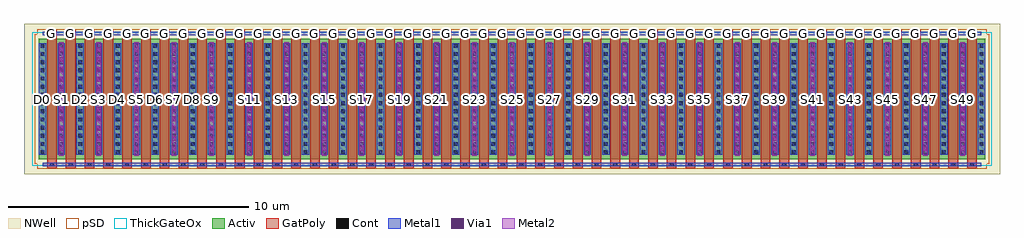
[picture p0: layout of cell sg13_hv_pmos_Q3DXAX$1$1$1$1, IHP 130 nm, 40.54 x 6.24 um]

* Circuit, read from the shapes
.subckt sg13_hv_pmos_Q3DXAX$1$1$1$1 D0 D10 D12 D14 D16 D18 D2 D20 D22 D24 D26 D28 D30 D32 D34 D36 D38 D4 D40 D42 D44 D46 D48 D6 D8 G S1 S11 S13 S15 S17 S19 S21 S23 S25 S27 S29 S3 S31 S33 S35 S37 S39 S41 S43 S45 S47 S49 S5 S7 S9
XM1 S1 G D0 n1 sg13_hv_pmos w=5u l=0.4u
XM2 D2 G S1 n1 sg13_hv_pmos w=5u l=0.4u
XM3 S3 G D2 n1 sg13_hv_pmos w=5u l=0.4u
XM4 D4 G S3 n1 sg13_hv_pmos w=5u l=0.4u
XM5 S5 G D4 n1 sg13_hv_pmos w=5u l=0.4u
XM6 D6 G S5 n1 sg13_hv_pmos w=5u l=0.4u
XM7 S7 G D6 n1 sg13_hv_pmos w=5u l=0.4u
XM8 D8 G S7 n1 sg13_hv_pmos w=5u l=0.4u
XM9 S9 G D8 n1 sg13_hv_pmos w=5u l=0.4u
XM10 D10 G S9 n1 sg13_hv_pmos w=5u l=0.4u
XM11 S11 G D10 n1 sg13_hv_pmos w=5u l=0.4u
XM12 D12 G S11 n1 sg13_hv_pmos w=5u l=0.4u
XM13 S13 G D12 n1 sg13_hv_pmos w=5u l=0.4u
XM14 D14 G S13 n1 sg13_hv_pmos w=5u l=0.4u
XM15 S15 G D14 n1 sg13_hv_pmos w=5u l=0.4u
XM16 D16 G S15 n1 sg13_hv_pmos w=5u l=0.4u
XM17 S17 G D16 n1 sg13_hv_pmos w=5u l=0.4u
XM18 D18 G S17 n1 sg13_hv_pmos w=5u l=0.4u
XM19 S19 G D18 n1 sg13_hv_pmos w=5u l=0.4u
XM20 D20 G S19 n1 sg13_hv_pmos w=5u l=0.4u
XM21 S21 G D20 n1 sg13_hv_pmos w=5u l=0.4u
XM22 D22 G S21 n1 sg13_hv_pmos w=5u l=0.4u
XM23 S23 G D22 n1 sg13_hv_pmos w=5u l=0.4u
XM24 D24 G S23 n1 sg13_hv_pmos w=5u l=0.4u
XM25 S25 G D24 n1 sg13_hv_pmos w=5u l=0.4u
XM26 D26 G S25 n1 sg13_hv_pmos w=5u l=0.4u
XM27 S27 G D26 n1 sg13_hv_pmos w=5u l=0.4u
XM28 D28 G S27 n1 sg13_hv_pmos w=5u l=0.4u
XM29 S29 G D28 n1 sg13_hv_pmos w=5u l=0.4u
XM30 D30 G S29 n1 sg13_hv_pmos w=5u l=0.4u
XM31 S31 G D30 n1 sg13_hv_pmos w=5u l=0.4u
XM32 D32 G S31 n1 sg13_hv_pmos w=5u l=0.4u
XM33 S33 G D32 n1 sg13_hv_pmos w=5u l=0.4u
XM34 D34 G S33 n1 sg13_hv_pmos w=5u l=0.4u
XM35 S35 G D34 n1 sg13_hv_pmos w=5u l=0.4u
XM36 D36 G S35 n1 sg13_hv_pmos w=5u l=0.4u
XM37 S37 G D36 n1 sg13_hv_pmos w=5u l=0.4u
XM38 D38 G S37 n1 sg13_hv_pmos w=5u l=0.4u
XM39 S39 G D38 n1 sg13_hv_pmos w=5u l=0.4u
XM40 D40 G S39 n1 sg13_hv_pmos w=5u l=0.4u
XM41 S41 G D40 n1 sg13_hv_pmos w=5u l=0.4u
XM42 D42 G S41 n1 sg13_hv_pmos w=5u l=0.4u
XM43 S43 G D42 n1 sg13_hv_pmos w=5u l=0.4u
XM44 D44 G S43 n1 sg13_hv_pmos w=5u l=0.4u
XM45 S45 G D44 n1 sg13_hv_pmos w=5u l=0.4u
XM46 D46 G S45 n1 sg13_hv_pmos w=5u l=0.4u
XM47 S47 G D46 n1 sg13_hv_pmos w=5u l=0.4u
XM48 D48 G S47 n1 sg13_hv_pmos w=5u l=0.4u
XM49 S49 G D48 n1 sg13_hv_pmos w=5u l=0.4u
XM50 n2 G S49 n1 sg13_hv_pmos w=5u l=0.4u
.ends

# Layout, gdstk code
import gdstk
lib = gdstk.Library(unit=1e-6, precision=1e-09)
def R(c, l, rs):  # rectangles x0, y0, x1, y1
    for r in rs: c.add(gdstk.rectangle(r[:2], r[2:], *l))
def A(c, l, x, y, w, h, nx, ny, dx, dy):  # array of equal rectangles
    R(c, l, [(x+i*dx, y+j*dy, x+i*dx+w, y+j*dy+h) for i in range(nx) for j in range(ny)])
Activ = (1, 0)
GatPoly = (5, 0)
Cont = (6, 0)
Metal1 = (8, 0)
Metal2 = (10, 0)
pSD = (14, 0)
Via1 = (19, 0)
NWell = (31, 0)
ThickGateOx = (44, 0)

sg13_hv_pmos_q3dxax_1_1_ = lib.new_cell('sg13_hv_pmos_Q3DXAX$1$1$1$1')
R(sg13_hv_pmos_q3dxax_1_1_, Activ, [(-19.65,-2.5,19.65,2.5)])
A(sg13_hv_pmos_q3dxax_1_1_, GatPoly, -19.31, -2.87, 0.4, 5.74, 50, 1, 0.78, 0)
A(sg13_hv_pmos_q3dxax_1_1_, Cont, -19.19, -2.8, 0.16, 0.16, 50, 2, 0.78, 5.44)
A(sg13_hv_pmos_q3dxax_1_1_, Cont, -19.58, -2.29, 0.16, 0.16, 51, 14, 0.78, 0.34)
A(sg13_hv_pmos_q3dxax_1_1_, Metal1, -19.65, -2.31, 0.3, 4.62, 51, 1, 0.78, 0)
R(sg13_hv_pmos_q3dxax_1_1_, Metal1, [(-19.5,-2.8,19.5,-2.64), (-19.5,2.64,19.5,2.8)])
A(sg13_hv_pmos_q3dxax_1_1_, Metal2, -18.82, -2.35, 0.2, 4.7, 25, 1, 1.56, 0)
R(sg13_hv_pmos_q3dxax_1_1_, pSD, [(-19.71,-2.9,19.71,-2.68), (-19.83,-2.68,19.83,2.68), (-19.71,2.68,19.71,2.9)])
A(sg13_hv_pmos_q3dxax_1_1_, Via1, -18.815, -2.145, 0.19, 0.19, 25, 11, 1.56, 0.41)
R(sg13_hv_pmos_q3dxax_1_1_, NWell, [(-20.27,-3.12,20.27,3.12)])
R(sg13_hv_pmos_q3dxax_1_1_, ThickGateOx, [(-19.92,-2.77,19.92,2.77)])
sg13_hv_pmos_q3dxax_1_1_.add(gdstk.Label('D0', (-19.5,0), layer=8, texttype=25))
sg13_hv_pmos_q3dxax_1_1_.add(gdstk.Label('G', (19.11,2.72), layer=8, texttype=25))
sg13_hv_pmos_q3dxax_1_1_.add(gdstk.Label('G', (18.33,2.72), layer=8, texttype=25))
sg13_hv_pmos_q3dxax_1_1_.add(gdstk.Label('G', (17.55,2.72), layer=8, texttype=25))
sg13_hv_pmos_q3dxax_1_1_.add(gdstk.Label('G', (16.77,2.72), layer=8, texttype=25))
sg13_hv_pmos_q3dxax_1_1_.add(gdstk.Label('G', (15.99,2.72), layer=8, texttype=25))
sg13_hv_pmos_q3dxax_1_1_.add(gdstk.Label('G', (15.21,2.72), layer=8, texttype=25))
sg13_hv_pmos_q3dxax_1_1_.add(gdstk.Label('G', (14.43,2.72), layer=8, texttype=25))
sg13_hv_pmos_q3dxax_1_1_.add(gdstk.Label('G', (13.65,2.72), layer=8, texttype=25))
sg13_hv_pmos_q3dxax_1_1_.add(gdstk.Label('G', (12.87,2.72), layer=8, texttype=25))
sg13_hv_pmos_q3dxax_1_1_.add(gdstk.Label('G', (12.09,2.72), layer=8, texttype=25))
sg13_hv_pmos_q3dxax_1_1_.add(gdstk.Label('G', (11.31,2.72), layer=8, texttype=25))
sg13_hv_pmos_q3dxax_1_1_.add(gdstk.Label('G', (10.53,2.72), layer=8, texttype=25))
sg13_hv_pmos_q3dxax_1_1_.add(gdstk.Label('G', (9.75,2.72), layer=8, texttype=25))
sg13_hv_pmos_q3dxax_1_1_.add(gdstk.Label('G', (8.97,2.72), layer=8, texttype=25))
sg13_hv_pmos_q3dxax_1_1_.add(gdstk.Label('G', (8.19,2.72), layer=8, texttype=25))
sg13_hv_pmos_q3dxax_1_1_.add(gdstk.Label('G', (7.41,2.72), layer=8, texttype=25))
sg13_hv_pmos_q3dxax_1_1_.add(gdstk.Label('G', (6.63,2.72), layer=8, texttype=25))
sg13_hv_pmos_q3dxax_1_1_.add(gdstk.Label('G', (5.85,2.72), layer=8, texttype=25))
sg13_hv_pmos_q3dxax_1_1_.add(gdstk.Label('G', (5.07,2.72), layer=8, texttype=25))
sg13_hv_pmos_q3dxax_1_1_.add(gdstk.Label('G', (4.29,2.72), layer=8, texttype=25))
sg13_hv_pmos_q3dxax_1_1_.add(gdstk.Label('G', (3.51,2.72), layer=8, texttype=25))
sg13_hv_pmos_q3dxax_1_1_.add(gdstk.Label('G', (2.73,2.72), layer=8, texttype=25))
sg13_hv_pmos_q3dxax_1_1_.add(gdstk.Label('G', (1.95,2.72), layer=8, texttype=25))
sg13_hv_pmos_q3dxax_1_1_.add(gdstk.Label('G', (1.17,2.72), layer=8, texttype=25))
sg13_hv_pmos_q3dxax_1_1_.add(gdstk.Label('G', (0.39,2.72), layer=8, texttype=25))
sg13_hv_pmos_q3dxax_1_1_.add(gdstk.Label('G', (-0.39,2.72), layer=8, texttype=25))
sg13_hv_pmos_q3dxax_1_1_.add(gdstk.Label('G', (-1.17,2.72), layer=8, texttype=25))
sg13_hv_pmos_q3dxax_1_1_.add(gdstk.Label('G', (-1.95,2.72), layer=8, texttype=25))
sg13_hv_pmos_q3dxax_1_1_.add(gdstk.Label('G', (-2.73,2.72), layer=8, texttype=25))
sg13_hv_pmos_q3dxax_1_1_.add(gdstk.Label('G', (-3.51,2.72), layer=8, texttype=25))
sg13_hv_pmos_q3dxax_1_1_.add(gdstk.Label('G', (-4.29,2.72), layer=8, texttype=25))
sg13_hv_pmos_q3dxax_1_1_.add(gdstk.Label('G', (-5.07,2.72), layer=8, texttype=25))
sg13_hv_pmos_q3dxax_1_1_.add(gdstk.Label('G', (-5.85,2.72), layer=8, texttype=25))
sg13_hv_pmos_q3dxax_1_1_.add(gdstk.Label('G', (-6.63,2.72), layer=8, texttype=25))
sg13_hv_pmos_q3dxax_1_1_.add(gdstk.Label('G', (-7.41,2.72), layer=8, texttype=25))
sg13_hv_pmos_q3dxax_1_1_.add(gdstk.Label('G', (-8.19,2.72), layer=8, texttype=25))
sg13_hv_pmos_q3dxax_1_1_.add(gdstk.Label('G', (-8.97,2.72), layer=8, texttype=25))
sg13_hv_pmos_q3dxax_1_1_.add(gdstk.Label('G', (-9.75,2.72), layer=8, texttype=25))
sg13_hv_pmos_q3dxax_1_1_.add(gdstk.Label('G', (-10.53,2.72), layer=8, texttype=25))
sg13_hv_pmos_q3dxax_1_1_.add(gdstk.Label('G', (-11.31,2.72), layer=8, texttype=25))
sg13_hv_pmos_q3dxax_1_1_.add(gdstk.Label('G', (-12.09,2.72), layer=8, texttype=25))
sg13_hv_pmos_q3dxax_1_1_.add(gdstk.Label('G', (-12.87,2.72), layer=8, texttype=25))
sg13_hv_pmos_q3dxax_1_1_.add(gdstk.Label('G', (-13.65,2.72), layer=8, texttype=25))
sg13_hv_pmos_q3dxax_1_1_.add(gdstk.Label('G', (-14.43,2.72), layer=8, texttype=25))
sg13_hv_pmos_q3dxax_1_1_.add(gdstk.Label('G', (-15.21,2.72), layer=8, texttype=25))
sg13_hv_pmos_q3dxax_1_1_.add(gdstk.Label('G', (-15.99,2.72), layer=8, texttype=25))
sg13_hv_pmos_q3dxax_1_1_.add(gdstk.Label('G', (-16.77,2.72), layer=8, texttype=25))
sg13_hv_pmos_q3dxax_1_1_.add(gdstk.Label('G', (-17.55,2.72), layer=8, texttype=25))
sg13_hv_pmos_q3dxax_1_1_.add(gdstk.Label('G', (-18.33,2.72), layer=8, texttype=25))
sg13_hv_pmos_q3dxax_1_1_.add(gdstk.Label('G', (-19.11,2.72), layer=8, texttype=25))
sg13_hv_pmos_q3dxax_1_1_.add(gdstk.Label('S1', (-18.72,0), layer=8, texttype=25))
sg13_hv_pmos_q3dxax_1_1_.add(gdstk.Label('D2', (-17.94,0), layer=8, texttype=25))
sg13_hv_pmos_q3dxax_1_1_.add(gdstk.Label('S3', (-17.16,0), layer=8, texttype=25))
sg13_hv_pmos_q3dxax_1_1_.add(gdstk.Label('D4', (-16.38,0), layer=8, texttype=25))
sg13_hv_pmos_q3dxax_1_1_.add(gdstk.Label('S5', (-15.6,0), layer=8, texttype=25))
sg13_hv_pmos_q3dxax_1_1_.add(gdstk.Label('D6', (-14.82,0), layer=8, texttype=25))
sg13_hv_pmos_q3dxax_1_1_.add(gdstk.Label('S7', (-14.04,0), layer=8, texttype=25))
sg13_hv_pmos_q3dxax_1_1_.add(gdstk.Label('D8', (-13.26,0), layer=8, texttype=25))
sg13_hv_pmos_q3dxax_1_1_.add(gdstk.Label('S9', (-12.48,0), layer=8, texttype=25))
sg13_hv_pmos_q3dxax_1_1_.add(gdstk.Label('D10', (-11.7,0), layer=8, texttype=25))
sg13_hv_pmos_q3dxax_1_1_.add(gdstk.Label('S11', (-10.92,0), layer=8, texttype=25))
sg13_hv_pmos_q3dxax_1_1_.add(gdstk.Label('D12', (-10.14,0), layer=8, texttype=25))
sg13_hv_pmos_q3dxax_1_1_.add(gdstk.Label('S13', (-9.36,0), layer=8, texttype=25))
sg13_hv_pmos_q3dxax_1_1_.add(gdstk.Label('D14', (-8.58,0), layer=8, texttype=25))
sg13_hv_pmos_q3dxax_1_1_.add(gdstk.Label('S15', (-7.8,0), layer=8, texttype=25))
sg13_hv_pmos_q3dxax_1_1_.add(gdstk.Label('D16', (-7.02,0), layer=8, texttype=25))
sg13_hv_pmos_q3dxax_1_1_.add(gdstk.Label('S17', (-6.24,0), layer=8, texttype=25))
sg13_hv_pmos_q3dxax_1_1_.add(gdstk.Label('D18', (-5.46,0), layer=8, texttype=25))
sg13_hv_pmos_q3dxax_1_1_.add(gdstk.Label('S19', (-4.68,0), layer=8, texttype=25))
sg13_hv_pmos_q3dxax_1_1_.add(gdstk.Label('D20', (-3.9,0), layer=8, texttype=25))
sg13_hv_pmos_q3dxax_1_1_.add(gdstk.Label('S21', (-3.12,0), layer=8, texttype=25))
sg13_hv_pmos_q3dxax_1_1_.add(gdstk.Label('D22', (-2.34,0), layer=8, texttype=25))
sg13_hv_pmos_q3dxax_1_1_.add(gdstk.Label('S23', (-1.56,0), layer=8, texttype=25))
sg13_hv_pmos_q3dxax_1_1_.add(gdstk.Label('D24', (-0.78,0), layer=8, texttype=25))
sg13_hv_pmos_q3dxax_1_1_.add(gdstk.Label('S25', (0,0), layer=8, texttype=25))
sg13_hv_pmos_q3dxax_1_1_.add(gdstk.Label('D26', (0.78,0), layer=8, texttype=25))
sg13_hv_pmos_q3dxax_1_1_.add(gdstk.Label('S27', (1.56,0), layer=8, texttype=25))
sg13_hv_pmos_q3dxax_1_1_.add(gdstk.Label('D28', (2.34,0), layer=8, texttype=25))
sg13_hv_pmos_q3dxax_1_1_.add(gdstk.Label('S29', (3.12,0), layer=8, texttype=25))
sg13_hv_pmos_q3dxax_1_1_.add(gdstk.Label('D30', (3.9,0), layer=8, texttype=25))
sg13_hv_pmos_q3dxax_1_1_.add(gdstk.Label('S31', (4.68,0), layer=8, texttype=25))
sg13_hv_pmos_q3dxax_1_1_.add(gdstk.Label('D32', (5.46,0), layer=8, texttype=25))
sg13_hv_pmos_q3dxax_1_1_.add(gdstk.Label('S33', (6.24,0), layer=8, texttype=25))
sg13_hv_pmos_q3dxax_1_1_.add(gdstk.Label('D34', (7.02,0), layer=8, texttype=25))
sg13_hv_pmos_q3dxax_1_1_.add(gdstk.Label('S35', (7.8,0), layer=8, texttype=25))
sg13_hv_pmos_q3dxax_1_1_.add(gdstk.Label('D36', (8.58,0), layer=8, texttype=25))
sg13_hv_pmos_q3dxax_1_1_.add(gdstk.Label('S37', (9.36,0), layer=8, texttype=25))
sg13_hv_pmos_q3dxax_1_1_.add(gdstk.Label('D38', (10.14,0), layer=8, texttype=25))
sg13_hv_pmos_q3dxax_1_1_.add(gdstk.Label('S39', (10.92,0), layer=8, texttype=25))
sg13_hv_pmos_q3dxax_1_1_.add(gdstk.Label('D40', (11.7,0), layer=8, texttype=25))
sg13_hv_pmos_q3dxax_1_1_.add(gdstk.Label('S41', (12.48,0), layer=8, texttype=25))
sg13_hv_pmos_q3dxax_1_1_.add(gdstk.Label('D42', (13.26,0), layer=8, texttype=25))
sg13_hv_pmos_q3dxax_1_1_.add(gdstk.Label('S43', (14.04,0), layer=8, texttype=25))
sg13_hv_pmos_q3dxax_1_1_.add(gdstk.Label('D44', (14.82,0), layer=8, texttype=25))
sg13_hv_pmos_q3dxax_1_1_.add(gdstk.Label('S45', (15.6,0), layer=8, texttype=25))
sg13_hv_pmos_q3dxax_1_1_.add(gdstk.Label('D46', (16.38,0), layer=8, texttype=25))
sg13_hv_pmos_q3dxax_1_1_.add(gdstk.Label('S47', (17.16,0), layer=8, texttype=25))
sg13_hv_pmos_q3dxax_1_1_.add(gdstk.Label('D48', (17.94,0), layer=8, texttype=25))
sg13_hv_pmos_q3dxax_1_1_.add(gdstk.Label('S49', (18.72,0), layer=8, texttype=25))

lib.write_gds('sg13_hv_pmos_Q3DXAX_1_1_1_1.gds')
